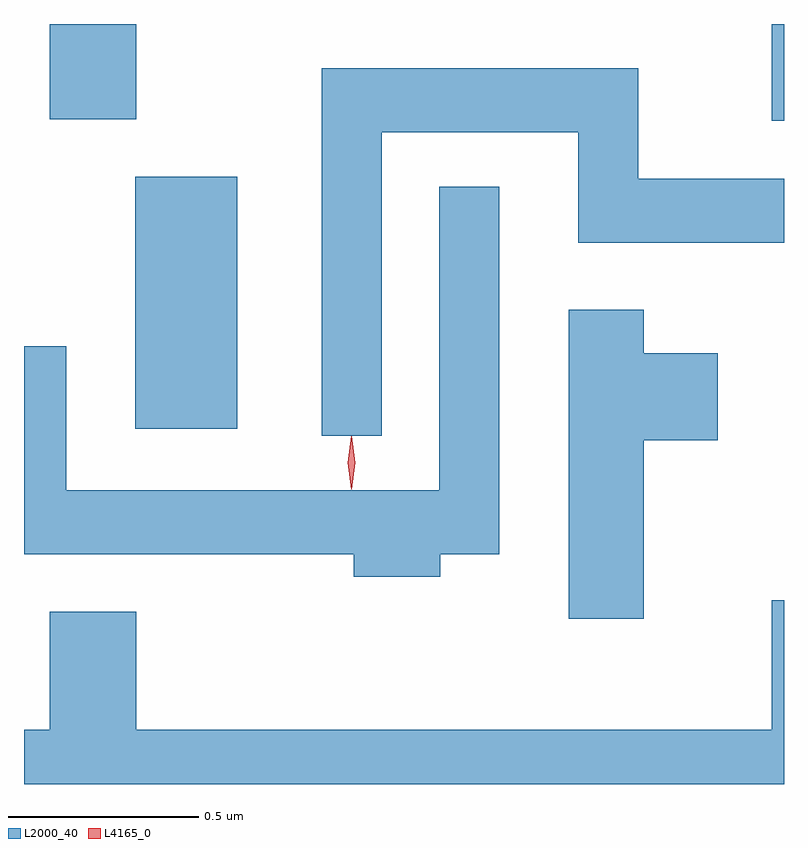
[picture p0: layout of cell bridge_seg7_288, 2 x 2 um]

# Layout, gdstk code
import gdstk
lib = gdstk.Library(unit=1e-6, precision=1e-09)
def R(c, l, rs):  # rectangles x0, y0, x1, y1
    for r in rs: c.add(gdstk.rectangle(r[:2], r[2:], *l))
def P(c, l, *ps):  # polygons
    for p in ps: c.add(gdstk.Polygon(p, *l))
L2000_40 = (2000, 40)
L4165_0 = (4165, 0)

bridge_seg7_288 = lib.new_cell('bridge_seg7_288')
R(bridge_seg7_288, L2000_40, [(1256.446,1801.956,1256.714,1802.619), (1258.121,1802.766,1258.153,1803.021), (1256.221,1802.771,1256.449,1803.021)])
P(bridge_seg7_288, L2000_40, [(1257.094,1802.736),(1257.611,1802.736),(1257.611,1802.446),(1258.153,1802.446),(1258.153,1802.614),(1257.769,1802.614),(1257.769,1802.904),(1256.936,1802.904),(1256.936,1801.938),(1257.094,1801.938)],
  [(1257.249,1801.626),(1257.404,1801.626),(1257.404,1802.593),(1257.246,1802.593),(1257.246,1801.794),(1256.264,1801.794),(1256.264,1802.173),(1256.153,1802.173),(1256.153,1801.626),(1257.021,1801.626),(1257.021,1801.566),(1257.249,1801.566)],
  [(1257.784,1801.926),(1257.979,1801.926),(1257.979,1802.154),(1257.784,1802.154),(1257.784,1802.269),(1257.586,1802.269),(1257.586,1801.456),(1257.784,1801.456)],
  [(1258.153,1801.504),(1258.121,1801.504),(1258.121,1801.164),(1256.449,1801.164),(1256.449,1801.474),(1256.221,1801.474),(1256.221,1801.164),(1256.153,1801.164),(1256.153,1801.021),(1258.153,1801.021)])
P(bridge_seg7_288, L4165_0, [(1257.014,1801.797),(1257.005,1801.866),(1257.014,1801.936),(1257.015,1801.936),(1257.015,1801.936),(1257.025,1801.866),(1257.015,1801.797),(1257.015,1801.797)],
  [(1257.015,1801.799),(1257.014,1801.8),(1257.005,1801.866),(1257.014,1801.932),(1257.015,1801.933),(1257.015,1801.932),(1257.025,1801.866),(1257.015,1801.8)])

lib.write_gds('bridge_seg7_288.gds')
